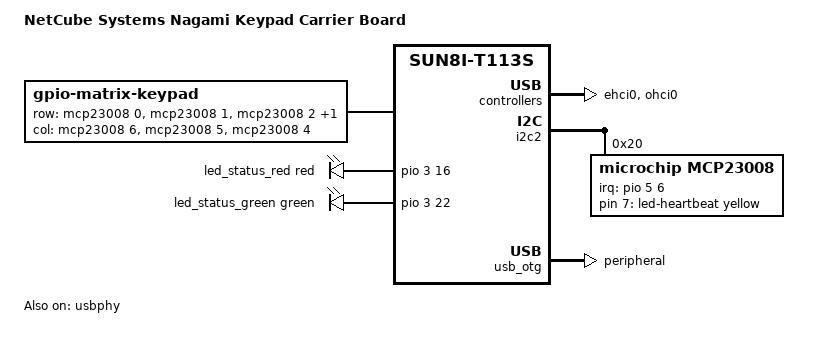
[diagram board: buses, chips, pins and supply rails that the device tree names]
// SPDX-License-Identifier: (GPL-2.0+ OR MIT)
/*
 * Copyright (C) 2025 Lukas Schmid <lukas.schmid@netcube.li>
 */

/dts-v1/;
#include "sun8i-t113s-netcube-nagami.dtsi"

#include <dt-bindings/input/input.h>
#include <dt-bindings/leds/common.h>

/ {
	model = "NetCube Systems Nagami Keypad Carrier Board";
	compatible = "netcube,nagami-keypad-carrier", "netcube,nagami",
				 "allwinner,sun8i-t113s";

	keypad: keypad {
		compatible = "gpio-matrix-keypad";
		debounce-delay-ms = <5>;
		col-scan-delay-us = <2>;

		row-gpios = <&mcp23008 0 0
					 &mcp23008 1 0
					 &mcp23008 2 0
					 &mcp23008 3 0>;

		col-gpios = <&mcp23008 6 0
					 &mcp23008 5 0
					 &mcp23008 4 0>;

		linux,keymap = <0x00000201
						0x00010202
						0x00020203
						0x01000204
						0x01010205
						0x01020206
						0x02000207
						0x02010208
						0x02020209
						0x0300020A
						0x03010200
						0x0302020D>;
	};

	leds {
		compatible = "gpio-leds";

		led-heartbeat {
			gpios = <&mcp23008 7 GPIO_ACTIVE_HIGH>;
			linux,default-trigger = "heartbeat";
			color = <LED_COLOR_ID_YELLOW>;
			function = LED_FUNCTION_HEARTBEAT;
		};

		led_status_red: led-status-red {
			gpios = <&pio 3 16 GPIO_ACTIVE_HIGH>;  /* PD16 */
			color = <LED_COLOR_ID_RED>;
			function = LED_FUNCTION_STATUS;
		};

		led_status_green: led-status-green {
			gpios = <&pio 3 22 GPIO_ACTIVE_HIGH>;  /* PD22 */
			color = <LED_COLOR_ID_GREEN>;
			function = LED_FUNCTION_STATUS;
		};
	};

	multi-led {
		compatible = "leds-group-multicolor";
		color = <LED_COLOR_ID_MULTI>;
		function = LED_FUNCTION_STATUS;
		leds = <&led_status_red &led_status_green>;
	};
};

&ehci0 {
	status = "okay";
};

&i2c2 {
	status = "okay";

	mcp23008: gpio@20 {
		compatible = "microchip,mcp23008";
		gpio-controller;
		#gpio-cells = <2>;
		reg = <0x20>;
		interrupts-extended = <&pio 5 6 IRQ_TYPE_LEVEL_LOW>;  /* PF6 */
		interrupt-controller;
		#interrupt-cells = <2>;
	};
};

&ohci0 {
	status = "okay";
};

&pio {
	gpio-line-names = "", "", "", "", // PA
					  "", "", "", "",
					  "", "", "", "",
					  "", "", "", "",
					  "", "", "", "",
					  "", "", "", "",
					  "", "", "", "",
					  "", "", "", "",
					  "", "", "", "", // PB
					  "", "", "UART3_TX", "UART3_RX",
					  "", "", "", "",
					  "", "", "", "",
					  "", "", "", "",
					  "", "", "", "",
					  "", "", "", "",
					  "", "", "", "",
					  "", "", "eMMC_CLK", "eMMC_CMD", // PC
					  "eMMC_D2", "eMMC_D1", "eMMC_D0", "eMMC_D3",
					  "", "", "", "",
					  "", "", "", "",
					  "", "", "", "",
					  "", "", "", "",
					  "", "", "", "",
					  "", "", "", "",
					  "", "", "", "", // PD
					  "", "", "", "",
					  "", "", "", "",
					  "", "", "", "",
					  "LED_STATUS_RED", "", "", "",
					  "I2C2_SCL", "I2C2_SDA", "LED_STATUS_GREEN", "",
					  "", "", "", "",
					  "", "", "", "",
					  "ETH_CRSDV", "ETH_RXD0", "ETH_RXD1", "ETH_TXCK", // PE
					  "ETH_TXD0", "ETH_TXD1", "ETH_TXEN", "",
					  "ETH_MDC", "ETH_MDIO", "QWIIC_nINT", "",
					  "", "", "", "",
					  "", "", "", "",
					  "", "", "", "",
					  "", "", "", "",
					  "", "", "", "",
					  "", "", "", "", // PF
					  "", "", "KEY_nINT", "",
					  "", "", "", "",
					  "", "", "", "",
					  "", "", "", "",
					  "", "", "", "",
					  "", "", "", "",
					  "", "", "", "",
					  "ESP_CLK", "ESP_CMD", "ESP_D0", "ESP_D1", // PG
					  "ESP_D2", "ESP_D3", "UART1_TXD", "UART1_RXD",
					  "ESP_nBOOT", "ESP_nRST", "I2C3_SCL", "I2C3_SDA",
					  "", "", "", "",
					  "", "", "", "",
					  "", "", "", "",
					  "", "", "", "",
					  "", "", "", "";
};

&usb_otg {
	dr_mode = "peripheral";
	status = "okay";
};

&usbphy {
	status = "okay";
};
